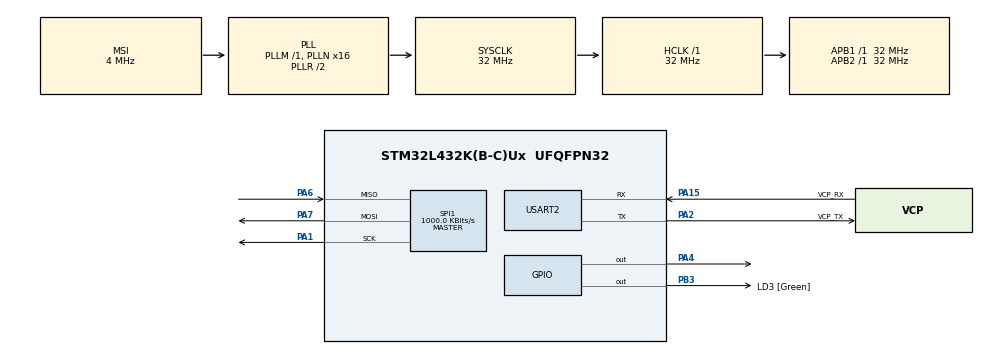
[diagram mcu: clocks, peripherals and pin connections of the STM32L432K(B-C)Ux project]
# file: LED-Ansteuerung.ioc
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Mcu.Family=STM32L4
Mcu.Name=STM32L432K(B-C)Ux
Mcu.Package=UFQFPN32
NVIC.PriorityGroup=NVIC_PRIORITYGROUP_4
NVIC.USART2_IRQn=true\:0\:0\:false\:false\:true\:true\:true\:true
PA0.GPIO_Label=MCO [High speed clock in]
PA0.Mode=HSE-External-Clock-Source-for-LittleOrca
PA0.Signal=RCC_CK_IN
PA1.Mode=Full_Duplex_Master
PA1.Signal=SPI1_SCK
PA13\ (JTMS-SWDIO).GPIO_Label=SWDIO
PA13\ (JTMS-SWDIO).Mode=Serial_Wire
PA13\ (JTMS-SWDIO).Signal=SYS_JTMS-SWDIO
PA14\ (JTCK-SWCLK).GPIO_Label=SWCLK
PA14\ (JTCK-SWCLK).Mode=Serial_Wire
PA14\ (JTCK-SWCLK).Signal=SYS_JTCK-SWCLK
PA15\ (JTDI).GPIO_Label=VCP_RX
PA15\ (JTDI).Mode=Asynchronous
PA15\ (JTDI).Signal=USART2_RX
PA2.GPIO_Label=VCP_TX
PA2.Mode=Asynchronous
PA2.Signal=USART2_TX
PA4.Signal=GPIO_Output
PA6.Mode=Full_Duplex_Master
PA6.Signal=SPI1_MISO
PA7.Mode=Full_Duplex_Master
PA7.Signal=SPI1_MOSI
PB3\ (JTDO-TRACESWO).GPIO_Label=LD3 [Green]
PB3\ (JTDO-TRACESWO).Signal=GPIO_Output
PC14-OSC32_IN\ (PC14).Mode=LSE-External-Oscillator
PC14-OSC32_IN\ (PC14).Signal=RCC_OSC32_IN
PC15-OSC32_OUT\ (PC15).Mode=LSE-External-Oscillator
PC15-OSC32_OUT\ (PC15).Signal=RCC_OSC32_OUT
ProjectManager.HeapSize=0x200
ProjectManager.StackSize=0x400
ProjectManager.TargetToolchain=STM32CubeIDE
RCC.AHBFreq_Value=32000000
RCC.APB1Freq_Value=32000000
RCC.APB1TimFreq_Value=32000000
RCC.APB2Freq_Value=32000000
RCC.APB2TimFreq_Value=32000000
RCC.CortexFreq_Value=32000000
RCC.HCLKFreq_Value=32000000
RCC.HSE_VALUE=8000000
RCC.HSI16_VALUE=16000000
RCC.HSI48_VALUE=48000000
RCC.HSI_VALUE=16000000
RCC.MSI_VALUE=4000000
RCC.PLLMUL=RCC_PLLMUL_4
RCC.PLLN=16
RCC.SYSCLKFreq_VALUE=32000000
RCC.SYSCLKSource=RCC_SYSCLKSOURCE_PLLCLK
RCC.VCOOutputFreq_Value=64000000
SPI1.BaudRatePrescaler=SPI_BAUDRATEPRESCALER_32
SPI1.CalculateBaudRate=1000.0 KBits/s
SPI1.DataSize=SPI_DATASIZE_8BIT
SPI1.Direction=SPI_DIRECTION_2LINES
SPI1.Mode=SPI_MODE_MASTER
SPI1.NSSPMode=SPI_NSS_PULSE_DISABLE
SPI1.VirtualType=VM_MASTER
USART2.VirtualMode-Asynchronous=VM_ASYNC
board=NUCLEO-L432KC

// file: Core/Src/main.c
/* USER CODE BEGIN Header */
/**
  ******************************************************************************
  * @file           : main.c
  * @brief          : Main program body
  ******************************************************************************
  * @attention
  *
  * Copyright (c) 2025 STMicroelectronics.
  * All rights reserved.
  *
  * This software is licensed under terms that can be found in the LICENSE file
  * in the root directory of this software component.
  * If no LICENSE file comes with this software, it is provided AS-IS.
  *
  ******************************************************************************
  */
/* USER CODE END Header */
#include "main.h"
#include "spi.h"
#include "usart.h"
#include "gpio.h"

void SystemClock_Config(void);

/* USER CODE BEGIN 0 */
uint8_t rx_byte;
uint8_t rx_buf[256];
volatile uint8_t new_line_received = 0;
uint16_t idx = 0;

#define MAX_VALUES 900
#define FRAME_SIZE 30

float rad_arr[MAX_VALUES];
float phi_arr[MAX_VALUES];
uint8_t rgb_arr[MAX_VALUES][3];

int count = 0;

/* USER CODE END 0 */

int main(void)
{

  /* MCU Configuration--------------------------------------------------------*/

  /* Reset of all peripherals, Initializes the Flash interface and the Systick. */
  HAL_Init();

  /* Configure the system clock */
  SystemClock_Config();

  /* Initialize all configured peripherals */
  MX_GPIO_Init();
  MX_USART2_UART_Init();
  MX_SPI1_Init();
  /* USER CODE BEGIN 2 */
  DigiLed_init(&hspi1); // Initialisierung der Library
  HAL_UART_Receive_IT(&huart2, &rx_byte, 1); // Interrupt start

  uint8_t ready_msg[] = "READY\r\n";
  HAL_Delay(10); // Kurz warten
  HAL_UART_Transmit(&huart2, ready_msg, sizeof(ready_msg), 1000); // READY an Python Code senden

  /* USER CODE END 2 */

  /* Infinite loop */
  /* USER CODE BEGIN WHILE */
  while (1)
  {
	  if(1)
	  {

		  new_line_received = 0;
		  //HAL_UART_Transmit(&huart2, &rx_byte, 1, HAL_MAX_DELAY); // Echo zum Test
	      float rad_i, phi_i;
	      unsigned int r_tmp, g_tmp, b_tmp;

	      int n = sscanf((char*)rx_buf, "%f,%f,%u,%u,%u",
	    		  &rad_i, &phi_i, &r_tmp, &g_tmp, &b_tmp);
	      int offset;
	      //float rad = rad_i / 100.0f;
	      //float phi = phi_i / 100.0f;
	      if (n == 5)
	      {
	    	  // Werte speichern
	          rgb_arr[count][0] = (uint8_t)r_tmp;
	          rgb_arr[count][1] = (uint8_t)g_tmp;
	          rgb_arr[count++][2] = (uint8_t)b_tmp;

	          if (count == MAX_VALUES)
	          {
	        	  int TOTAL_FRAMES = MAX_VALUES / FRAME_SIZE;

				  for (int frame = 0; frame < TOTAL_FRAMES; frame++)
				  {
					  offset = frame * FRAME_SIZE;

					  for (int i = 0; i < FRAME_SIZE; i++)
					  {
						  DigiLed_setColor(i,
							   rgb_arr[offset + i][0],
							   rgb_arr[offset + i][1],
							   rgb_arr[offset + i][2]);
					  }

					  DigiLed_setAllIllumination(1);
					  DigiLed_update(1);
					  HAL_Delay(50);
				  }
					  offset = 0;
			  }
	      }
	      HAL_GPIO_WritePin(GPIOA, GPIO_PIN_4, 1);
	  }
	  HAL_Delay(1);
    /* USER CODE END WHILE */

  }
}

void HAL_UART_RxCpltCallback(UART_HandleTypeDef *huart)
{
    if(huart->Instance == USART2)
    {
        if(rx_byte == '\n' || rx_byte == '\r')
        {
            rx_buf[idx] = 0;          // String beenden
            HAL_GPIO_WritePin(GPIOA, GPIO_PIN_4, 0);
            new_line_received = 1;    // Hauptschleife informieren
            idx = 0;                  // Reset für neue Zeile
        }
        else
        {	// Ueberlauf verhindern
            if(idx < sizeof(rx_buf)-1)
                rx_buf[idx++] = rx_byte; // Wert uebergeben dann idx+1
        }
        __HAL_UART_CLEAR_OREFLAG(huart);          // Overrun Flag loeschen

        // Naechsten Interrupt starten
        HAL_UART_Receive_IT(&huart2, &rx_byte, 1);
    }
}
void SystemClock_Config(void)
{
  RCC_OscInitTypeDef RCC_OscInitStruct = {0};
  RCC_ClkInitTypeDef RCC_ClkInitStruct = {0};

  /** Configure the main internal regulator output voltage
  */
  if (HAL_PWREx_ControlVoltageScaling(PWR_REGULATOR_VOLTAGE_SCALE1) != HAL_OK)
  {
    Error_Handler();
  }

  /** Configure LSE Drive Capability
  */
  HAL_PWR_EnableBkUpAccess();
  __HAL_RCC_LSEDRIVE_CONFIG(RCC_LSEDRIVE_LOW);

  /** Initializes the RCC Oscillators according to the specified parameters
  * in the RCC_OscInitTypeDef structure.
  */
  RCC_OscInitStruct.OscillatorType = RCC_OSCILLATORTYPE_LSE|RCC_OSCILLATORTYPE_MSI;
  RCC_OscInitStruct.LSEState = RCC_LSE_ON;
  RCC_OscInitStruct.MSIState = RCC_MSI_ON;
  RCC_OscInitStruct.MSICalibrationValue = 0;
  RCC_OscInitStruct.MSIClockRange = RCC_MSIRANGE_6;
  RCC_OscInitStruct.PLL.PLLState = RCC_PLL_ON;
  RCC_OscInitStruct.PLL.PLLSource = RCC_PLLSOURCE_MSI;
  RCC_OscInitStruct.PLL.PLLM = 1;
  RCC_OscInitStruct.PLL.PLLN = 16;
  RCC_OscInitStruct.PLL.PLLP = RCC_PLLP_DIV7;
  RCC_OscInitStruct.PLL.PLLQ = RCC_PLLQ_DIV2;
  RCC_OscInitStruct.PLL.PLLR = RCC_PLLR_DIV2;
  if (HAL_RCC_OscConfig(&RCC_OscInitStruct) != HAL_OK)
  {
    Error_Handler();
  }

  /** Initializes the CPU, AHB and APB buses clocks
  */
  RCC_ClkInitStruct.ClockType = RCC_CLOCKTYPE_HCLK|RCC_CLOCKTYPE_SYSCLK
                              |RCC_CLOCKTYPE_PCLK1|RCC_CLOCKTYPE_PCLK2;
  RCC_ClkInitStruct.SYSCLKSource = RCC_SYSCLKSOURCE_PLLCLK;
  RCC_ClkInitStruct.AHBCLKDivider = RCC_SYSCLK_DIV1;
  RCC_ClkInitStruct.APB1CLKDivider = RCC_HCLK_DIV1;
  RCC_ClkInitStruct.APB2CLKDivider = RCC_HCLK_DIV1;

  if (HAL_RCC_ClockConfig(&RCC_ClkInitStruct, FLASH_LATENCY_1) != HAL_OK)
  {
    Error_Handler();
  }

  /** Enable MSI Auto calibration
  */
  HAL_RCCEx_EnableMSIPLLMode();
}

void Error_Handler(void)
{
  __disable_irq();
  while (1)
  {
  }
}
